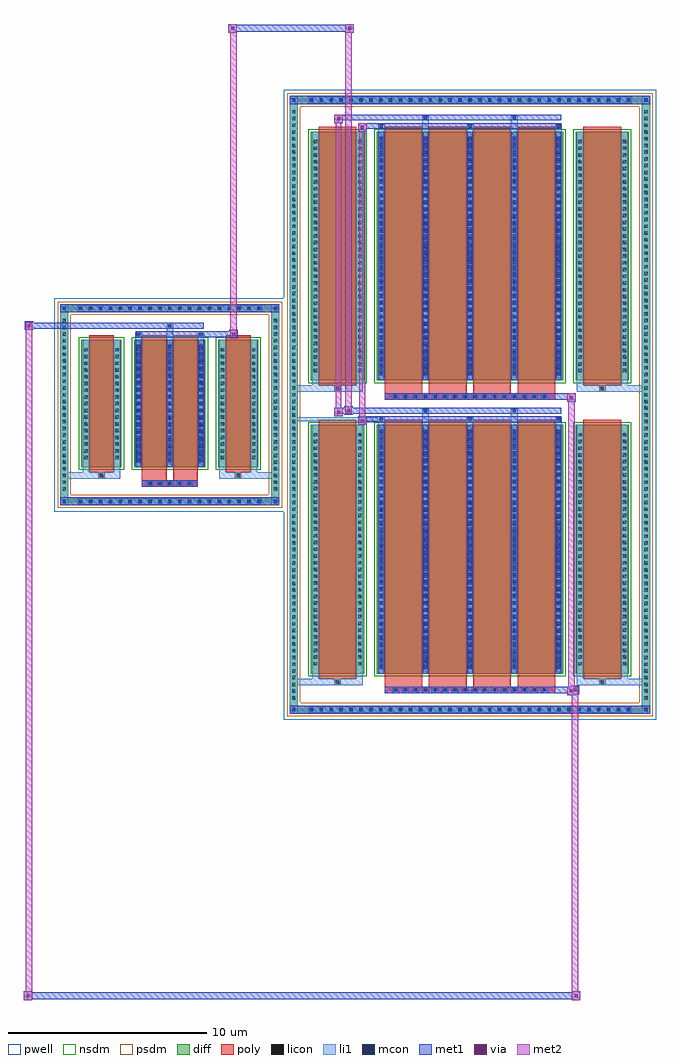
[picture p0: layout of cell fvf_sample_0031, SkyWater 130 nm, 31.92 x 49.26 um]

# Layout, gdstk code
import gdstk
lib = gdstk.Library(unit=1e-6, precision=1e-09)
def R(c, l, rs):  # rectangles x0, y0, x1, y1
    for r in rs: c.add(gdstk.rectangle(r[:2], r[2:], *l))
def A(c, l, x, y, w, h, nx, ny, dx, dy):  # array of equal rectangles
    R(c, l, [(x+i*dx, y+j*dy, x+i*dx+w, y+j*dy+h) for i in range(nx) for j in range(ny)])
def P(c, l, *ps):  # polygons
    for p in ps: c.add(gdstk.Polygon(p, *l))
pwell = (64, 44)
diff = (65, 20)
poly = (66, 20)
licon = (66, 44)
li1 = (67, 20)
mcon = (67, 44)
met1 = (68, 20)
via = (68, 44)
met2 = (69, 20)
nsdm = (93, 44)
psdm = (94, 20)

fvf_sample_0031 = lib.new_cell('fvf_sample_0031')
R(fvf_sample_0031, pwell, [(5.743,-15.897,24.549,15.897), (-5.843,-5.387,5.843,5.387)])
A(fvf_sample_0031, diff, 6.941, -15.587, 0.41, 0.41, 33, 2, 0.5, 30.764)
A(fvf_sample_0031, diff, 6.053, -14.995, 0.41, 0.41, 1, 88, 0, 0.34)
A(fvf_sample_0031, diff, 23.829, -14.995, 0.41, 0.41, 1, 88, 0, 0.34)
A(fvf_sample_0031, diff, -4.705, -5.077, 0.41, 0.41, 19, 2, 0.5, 9.744)
A(fvf_sample_0031, diff, -5.533, -4.455, 0.41, 0.41, 1, 26, 0, 0.34)
A(fvf_sample_0031, diff, 5.123, -4.455, 0.41, 0.41, 1, 26, 0, 0.34)
R(fvf_sample_0031, diff, [(6.941,-15.587,23.351,-15.177), (6.053,-14.995,6.463,14.995), (23.829,-14.995,24.239,14.995), (7.123,-13.566,9.809,-1.014), (10.449,-13.566,19.843,-1.014), (20.483,-13.566,23.169,-1.014), (-4.705,-5.077,4.705,-4.667), (-5.533,-4.455,-5.123,4.455), (5.123,-4.455,5.533,4.455), (-4.463,-3.156,-2.439,3.272), (-1.799,-3.156,1.799,3.272), (2.439,-3.156,4.463,3.272), (7.123,1.23,9.809,13.782), (10.449,1.23,19.843,13.782), (20.483,1.23,23.169,13.782), (-4.705,4.667,4.705,5.077), (6.941,15.177,23.351,15.587)])
P(fvf_sample_0031, diff, [(5.533,5.077),(-5.533,5.077),(-5.533,-4.667),(-5.123,-4.667),(-5.123,4.667),(5.123,4.667),(5.123,-4.667),(-5.123,-4.667),(-5.533,-4.667),(-5.533,-5.077),(5.533,-5.077)],
  [(24.239,15.587),(6.053,15.587),(6.053,-15.177),(6.463,-15.177),(6.463,15.177),(23.829,15.177),(23.829,-15.177),(6.463,-15.177),(6.053,-15.177),(6.053,-15.587),(24.239,-15.587)])
A(fvf_sample_0031, poly, 11.231, -14.546, 0.33, 0.33, 16, 2, 0.5, 14.796)
A(fvf_sample_0031, poly, 10.839, -14.216, 1.906, 0.4, 4, 2, 2.236, 14.796)
A(fvf_sample_0031, poly, 10.839, -13.816, 1.906, 13.052, 4, 2, 2.236, 14.796)
A(fvf_sample_0031, poly, -1.165, -4.136, 0.33, 0.33, 5, 1, 0.5, 0)
R(fvf_sample_0031, poly, [(10.839,-14.546,19.453,-14.216), (8.301,-14.146,8.631,-13.816), (8.301,-14.146,8.631,-13.816), (21.661,-14.146,21.991,-13.816), (21.661,-14.146,21.991,-13.816), (7.513,-13.816,9.419,-0.764), (20.873,-13.816,22.779,-0.764), (-1.409,-4.136,1.409,-3.806), (-1.409,-3.806,-0.165,-3.406), (0.165,-3.806,1.409,-3.406), (-3.616,-3.736,-3.286,-3.406), (-3.616,-3.736,-3.286,-3.406), (3.286,-3.736,3.616,-3.406), (3.286,-3.736,3.616,-3.406), (-4.073,-3.406,-2.829,3.522), (-1.409,-3.406,-0.165,3.522), (0.165,-3.406,1.409,3.522), (2.829,-3.406,4.073,3.522), (10.839,0.25,19.453,0.58), (8.301,0.65,8.631,0.98), (8.301,0.65,8.631,0.98), (21.661,0.65,21.991,0.98), (21.661,0.65,21.991,0.98), (7.513,0.98,9.419,14.032), (20.873,0.98,22.779,14.032)])
A(fvf_sample_0031, licon, 7.061, -15.467, 0.17, 0.17, 33, 2, 0.5, 30.764)
A(fvf_sample_0031, licon, 6.173, -14.875, 0.17, 0.17, 1, 88, 0, 0.34)
A(fvf_sample_0031, licon, 23.949, -14.875, 0.17, 0.17, 1, 88, 0, 0.34)
A(fvf_sample_0031, licon, 11.311, -14.466, 0.17, 0.17, 16, 2, 0.5, 14.796)
A(fvf_sample_0031, licon, 7.263, -13.155, 0.17, 0.17, 1, 35, 0, 0.34)
A(fvf_sample_0031, licon, 9.499, -13.155, 0.17, 0.17, 1, 35, 0, 0.34)
A(fvf_sample_0031, licon, 10.589, -13.155, 0.17, 0.17, 5, 35, 2.236, 0.34)
A(fvf_sample_0031, licon, 20.623, -13.155, 0.17, 0.17, 1, 35, 0, 0.34)
A(fvf_sample_0031, licon, 22.859, -13.155, 0.17, 0.17, 1, 35, 0, 0.34)
A(fvf_sample_0031, licon, -4.585, -4.957, 0.17, 0.17, 19, 2, 0.5, 9.744)
A(fvf_sample_0031, licon, -5.413, -4.335, 0.17, 0.17, 1, 26, 0, 0.34)
A(fvf_sample_0031, licon, 5.243, -4.335, 0.17, 0.17, 1, 26, 0, 0.34)
A(fvf_sample_0031, licon, -1.085, -4.056, 0.17, 0.17, 5, 1, 0.5, 0)
A(fvf_sample_0031, licon, -4.323, -2.747, 0.17, 0.17, 1, 17, 0, 0.34)
A(fvf_sample_0031, licon, -2.749, -2.747, 0.17, 0.17, 1, 17, 0, 0.34)
A(fvf_sample_0031, licon, -1.659, -2.747, 0.17, 0.17, 3, 17, 1.574, 0.34)
A(fvf_sample_0031, licon, 2.579, -2.747, 0.17, 0.17, 1, 17, 0, 0.34)
A(fvf_sample_0031, licon, 4.153, -2.747, 0.17, 0.17, 1, 17, 0, 0.34)
A(fvf_sample_0031, licon, 7.263, 1.641, 0.17, 0.17, 1, 35, 0, 0.34)
A(fvf_sample_0031, licon, 9.499, 1.641, 0.17, 0.17, 1, 35, 0, 0.34)
A(fvf_sample_0031, licon, 10.589, 1.641, 0.17, 0.17, 5, 35, 2.236, 0.34)
A(fvf_sample_0031, licon, 20.623, 1.641, 0.17, 0.17, 1, 35, 0, 0.34)
A(fvf_sample_0031, licon, 22.859, 1.641, 0.17, 0.17, 1, 35, 0, 0.34)
R(fvf_sample_0031, licon, [(8.381,-14.066,8.551,-13.896), (21.741,-14.066,21.911,-13.896), (-3.536,-3.656,-3.366,-3.486), (3.366,-3.656,3.536,-3.486), (8.381,0.73,8.551,0.9), (21.741,0.73,21.911,0.9)])
A(fvf_sample_0031, li1, 6.981, -15.547, 0.33, 0.33, 33, 2, 0.5, 30.764)
A(fvf_sample_0031, li1, 6.093, -14.955, 0.33, 0.33, 1, 88, 0, 0.34)
A(fvf_sample_0031, li1, 23.869, -14.955, 0.33, 0.33, 1, 88, 0, 0.34)
A(fvf_sample_0031, li1, 11.231, -14.546, 0.33, 0.33, 16, 2, 0.5, 14.796)
A(fvf_sample_0031, li1, 10.509, -13.566, 0.33, 12.552, 5, 2, 2.236, 14.796)
A(fvf_sample_0031, li1, 10.589, -13.315, 0.17, 0.17, 5, 34, 2.236, 0.36)
A(fvf_sample_0031, li1, 10.589, -13.315, 0.17, 12.05, 5, 2, 2.236, 14.796)
A(fvf_sample_0031, li1, 7.183, -13.235, 0.33, 0.33, 1, 35, 0, 0.34)
A(fvf_sample_0031, li1, 9.419, -13.235, 0.33, 0.33, 1, 35, 0, 0.34)
A(fvf_sample_0031, li1, 10.509, -13.235, 0.33, 0.33, 5, 35, 2.236, 0.34)
A(fvf_sample_0031, li1, 20.543, -13.235, 0.33, 0.33, 1, 35, 0, 0.34)
A(fvf_sample_0031, li1, 22.779, -13.235, 0.33, 0.33, 1, 35, 0, 0.34)
A(fvf_sample_0031, li1, -4.665, -5.037, 0.33, 0.33, 19, 2, 0.5, 9.744)
A(fvf_sample_0031, li1, -5.493, -4.415, 0.33, 0.33, 1, 26, 0, 0.34)
A(fvf_sample_0031, li1, 5.163, -4.415, 0.33, 0.33, 1, 26, 0, 0.34)
A(fvf_sample_0031, li1, -1.165, -4.136, 0.33, 0.33, 5, 1, 0.5, 0)
A(fvf_sample_0031, li1, -1.739, -3.156, 0.33, 6.428, 3, 1, 1.574, 0)
A(fvf_sample_0031, li1, -1.659, -2.907, 0.17, 0.17, 3, 17, 1.574, 0.36)
A(fvf_sample_0031, li1, -1.659, -2.907, 0.17, 5.93, 3, 1, 1.574, 0)
A(fvf_sample_0031, li1, -4.403, -2.827, 0.33, 0.33, 1, 17, 0, 0.34)
A(fvf_sample_0031, li1, -2.829, -2.827, 0.33, 0.33, 1, 17, 0, 0.34)
A(fvf_sample_0031, li1, -1.739, -2.827, 0.33, 0.33, 3, 17, 1.574, 0.34)
A(fvf_sample_0031, li1, 2.499, -2.827, 0.33, 0.33, 1, 17, 0, 0.34)
A(fvf_sample_0031, li1, 4.073, -2.827, 0.33, 0.33, 1, 17, 0, 0.34)
A(fvf_sample_0031, li1, 10.509, -1.014, 0.33, 0.375, 3, 2, 4.472, 14.796)
A(fvf_sample_0031, li1, 10.589, -0.809, 0.17, 0.17, 3, 2, 4.472, 14.796)
A(fvf_sample_0031, li1, 10.589, 1.481, 0.17, 0.17, 5, 34, 2.236, 0.36)
A(fvf_sample_0031, li1, 7.183, 1.561, 0.33, 0.33, 1, 35, 0, 0.34)
A(fvf_sample_0031, li1, 9.419, 1.561, 0.33, 0.33, 1, 35, 0, 0.34)
A(fvf_sample_0031, li1, 10.509, 1.561, 0.33, 0.33, 5, 35, 2.236, 0.34)
A(fvf_sample_0031, li1, 20.543, 1.561, 0.33, 0.33, 1, 35, 0, 0.34)
A(fvf_sample_0031, li1, 22.779, 1.561, 0.33, 0.33, 1, 35, 0, 0.34)
R(fvf_sample_0031, li1, [(6.053,-15.587,6.463,-15.177), (23.829,-15.587,24.239,-15.177), (6.981,-15.547,23.311,-15.217), (6.173,-15.467,6.343,-15.297), (6.173,-15.467,6.343,-15.297), (23.949,-15.467,24.119,-15.297), (23.949,-15.467,24.119,-15.297), (6.053,-15.177,6.463,15.177), (23.829,-15.177,24.239,15.177), (6.053,-14.146,8.301,-13.816), (7.183,-14.146,7.513,-13.566), (7.183,-14.146,8.301,-13.816), (8.301,-14.146,8.631,-13.816), (8.631,-14.146,9.749,-13.816), (9.419,-14.146,9.749,-13.566), (20.543,-14.146,20.873,-13.566), (20.543,-14.146,21.661,-13.816), (21.661,-14.146,21.991,-13.816), (21.661,-14.146,24.239,-13.816), (21.991,-14.146,23.109,-13.816), (22.779,-14.146,23.109,-13.566), (7.183,-13.566,7.513,-1.014), (9.419,-13.566,9.749,-1.014), (20.543,-13.566,20.873,-1.014), (22.779,-13.566,23.109,-1.014), (-5.533,-5.077,-5.123,-4.667), (5.123,-5.077,5.533,-4.667), (-4.665,-5.037,4.665,-4.707), (-5.413,-4.957,-5.243,-4.787), (-5.413,-4.957,-5.243,-4.787), (5.243,-4.957,5.413,-4.787), (5.243,-4.957,5.413,-4.787), (-5.533,-4.667,-5.123,4.667), (5.123,-4.667,5.533,4.667), (-5.533,-3.736,-3.616,-3.406), (-4.403,-3.736,-3.616,-3.406), (-4.403,-3.736,-4.073,-3.156), (-3.616,-3.736,-3.286,-3.406), (-3.286,-3.736,-2.499,-3.406), (-2.829,-3.736,-2.499,-3.156), (2.499,-3.736,3.286,-3.406), (2.499,-3.736,2.829,-3.156), (3.286,-3.736,3.616,-3.406), (3.286,-3.736,5.533,-3.406), (3.616,-3.736,4.403,-3.406), (4.073,-3.736,4.403,-3.156), (-4.403,-3.156,-4.073,3.272), (-2.829,-3.156,-2.499,3.272), (2.499,-3.156,2.829,3.272), (4.073,-3.156,4.403,3.272), (12.745,-1.014,13.075,-0.209), (17.217,-1.014,17.547,-0.209), (10.529,-0.869,10.819,-0.579), (6.053,-0.824,10.529,-0.624), (10.589,-0.809,10.759,-0.639), (12.825,-0.379,12.995,-0.209), (17.297,-0.379,17.467,-0.209), (6.053,0.65,8.301,0.98), (7.183,0.65,7.513,1.23), (7.183,0.65,8.301,0.98), (8.301,0.65,8.631,0.98), (8.631,0.65,9.749,0.98), (9.419,0.65,9.749,1.23), (20.543,0.65,20.873,1.23), (20.543,0.65,21.661,0.98), (21.661,0.65,21.991,0.98), (21.661,0.65,24.239,0.98), (21.991,0.65,23.109,0.98), (22.779,0.65,23.109,1.23), (7.183,1.23,7.513,13.782), (9.419,1.23,9.749,13.782), (20.543,1.23,20.873,13.782), (22.779,1.23,23.109,13.782), (-1.739,3.272,-1.409,3.647), (-0.165,3.272,0.165,4.077), (1.409,3.272,1.739,3.647), (-1.659,3.477,-1.489,3.647), (1.489,3.477,1.659,3.647), (-0.085,3.907,0.085,4.077), (-5.533,4.667,-5.123,5.077), (5.123,4.667,5.533,5.077), (-4.665,4.707,4.665,5.037), (-5.413,4.787,-5.243,4.957), (-5.413,4.787,-5.243,4.957), (5.243,4.787,5.413,4.957), (5.243,4.787,5.413,4.957), (12.745,13.782,13.075,14.587), (17.217,13.782,17.547,14.587), (12.825,14.417,12.995,14.587), (17.297,14.417,17.467,14.587), (6.053,15.177,6.463,15.587), (23.829,15.177,24.239,15.587), (6.981,15.217,23.311,15.547), (6.173,15.297,6.343,15.467), (6.173,15.297,6.343,15.467), (23.949,15.297,24.119,15.467), (23.949,15.297,24.119,15.467)])
A(fvf_sample_0031, mcon, 7.061, -15.467, 0.17, 0.17, 33, 2, 0.5, 30.764)
A(fvf_sample_0031, mcon, 11.311, -14.466, 0.17, 0.17, 16, 2, 0.5, 14.796)
A(fvf_sample_0031, mcon, 10.589, -13.315, 0.17, 0.17, 5, 34, 2.236, 0.36)
A(fvf_sample_0031, mcon, -4.585, -4.957, 0.17, 0.17, 19, 2, 0.5, 9.744)
A(fvf_sample_0031, mcon, -1.085, -4.056, 0.17, 0.17, 5, 1, 0.5, 0)
A(fvf_sample_0031, mcon, -1.659, -2.907, 0.17, 0.17, 3, 17, 1.574, 0.36)
A(fvf_sample_0031, mcon, 10.589, -0.809, 0.17, 0.17, 3, 2, 4.472, 14.796)
A(fvf_sample_0031, mcon, 10.589, 1.481, 0.17, 0.17, 5, 34, 2.236, 0.36)
R(fvf_sample_0031, mcon, [(6.173,-15.467,6.343,-15.297), (23.949,-15.467,24.119,-15.297), (-5.413,-4.957,-5.243,-4.787), (5.243,-4.957,5.413,-4.787), (10.589,-0.809,10.759,-0.639), (12.825,-0.379,12.995,-0.209), (17.297,-0.379,17.467,-0.209), (-1.659,3.477,-1.489,3.647), (1.489,3.477,1.659,3.647), (-0.085,3.907,0.085,4.077), (-5.413,4.787,-5.243,4.957), (5.243,4.787,5.413,4.957), (12.825,14.417,12.995,14.587), (17.297,14.417,17.467,14.587), (6.173,15.297,6.343,15.467), (23.949,15.297,24.119,15.467)])
A(fvf_sample_0031, met1, 7.001, -15.527, 0.29, 0.29, 33, 2, 0.5, 30.764)
A(fvf_sample_0031, met1, 11.251, -14.526, 0.29, 0.29, 16, 2, 0.5, 14.796)
A(fvf_sample_0031, met1, 10.529, -13.566, 0.29, 12.552, 5, 2, 2.236, 14.796)
A(fvf_sample_0031, met1, 10.529, -13.375, 0.29, 0.29, 5, 34, 2.236, 0.36)
A(fvf_sample_0031, met1, -4.645, -5.017, 0.29, 0.29, 19, 2, 0.5, 9.744)
A(fvf_sample_0031, met1, -1.145, -4.116, 0.29, 0.29, 5, 1, 0.5, 0)
A(fvf_sample_0031, met1, -1.719, -3.156, 0.29, 6.428, 3, 1, 1.574, 0)
A(fvf_sample_0031, met1, -1.719, -2.967, 0.29, 0.29, 3, 17, 1.574, 0.36)
A(fvf_sample_0031, met1, 10.529, -0.869, 0.29, 0.29, 3, 2, 4.472, 14.796)
A(fvf_sample_0031, met1, 10.529, 1.421, 0.29, 0.29, 5, 34, 2.236, 0.36)
R(fvf_sample_0031, met1, [(-7.371,-30.037,-6.941,-29.607), (20.288,-30.037,20.718,-29.607), (-7.371,-29.987,20.718,-29.657), (-7.371,-29.657,-6.941,-29.607), (20.288,-29.657,20.718,-29.607), (6.053,-15.587,6.463,-15.177), (6.053,-15.587,6.463,-15.177), (6.463,-15.587,23.829,-15.177), (23.829,-15.587,24.239,-15.177), (23.829,-15.587,24.239,-15.177), (6.113,-15.527,6.403,-15.237), (23.889,-15.527,24.179,-15.237), (20.053,-14.646,20.483,-14.216), (20.238,-14.596,20.668,-14.166), (10.839,-14.546,19.453,-14.216), (19.453,-14.546,20.238,-14.216), (19.453,-14.546,20.483,-14.216), (-5.533,-5.077,-5.123,-4.667), (-5.533,-5.077,-5.123,-4.667), (-5.123,-5.077,5.123,-4.667), (5.123,-5.077,5.533,-4.667), (5.123,-5.077,5.533,-4.667), (-5.473,-5.017,-5.183,-4.727), (5.183,-5.017,5.473,-4.727), (-1.409,-4.136,1.409,-3.806), (9.499,-1.009,9.929,-0.579), (9.499,-0.869,10.529,-0.579), (10.529,-0.869,10.819,-0.579), (10.529,-0.869,19.763,-0.579), (8.299,-0.579,8.729,-0.149), (8.814,-0.509,9.244,-0.079), (8.299,-0.439,10.529,-0.149), (9.244,-0.439,10.529,-0.149), (10.529,-0.439,19.763,-0.149), (12.765,-0.439,13.055,-0.149), (17.237,-0.439,17.527,-0.149), (20.053,0.15,20.483,0.58), (10.839,0.25,19.453,0.58), (19.453,0.25,20.483,0.58), (3.004,3.347,3.434,3.777), (-1.719,3.417,-1.429,3.707), (-1.719,3.417,1.719,3.707), (1.429,3.417,1.719,3.707), (1.719,3.417,3.004,3.707), (-7.321,3.777,-6.891,4.207), (-6.891,3.847,-1.719,4.137), (-1.719,3.847,1.719,4.137), (-0.145,3.847,0.145,4.137), (-5.533,4.667,-5.123,5.077), (-5.533,4.667,-5.123,5.077), (-5.123,4.667,5.123,5.077), (5.123,4.667,5.533,5.077), (5.123,4.667,5.533,5.077), (-5.473,4.727,-5.183,5.017), (5.183,4.727,5.473,5.017), (9.499,13.787,9.929,14.217), (9.499,13.927,10.529,14.217), (10.529,13.927,19.763,14.217), (8.299,14.217,8.729,14.647), (8.299,14.357,10.529,14.647), (10.529,14.357,19.763,14.647), (12.765,14.357,13.055,14.647), (17.237,14.357,17.527,14.647), (6.053,15.177,6.463,15.587), (6.053,15.177,6.463,15.587), (6.463,15.177,23.829,15.587), (23.829,15.177,24.239,15.587), (23.829,15.177,24.239,15.587), (6.113,15.237,6.403,15.527), (23.889,15.237,24.179,15.527), (2.954,18.788,3.384,19.218), (8.864,18.788,9.294,19.218), (2.954,18.838,9.294,19.168), (2.954,19.168,3.384,19.218), (8.864,19.168,9.294,19.218)])
R(fvf_sample_0031, via, [(-7.231,-29.897,-7.081,-29.747), (20.428,-29.897,20.578,-29.747), (20.193,-14.506,20.343,-14.356), (20.378,-14.456,20.528,-14.306), (9.639,-0.869,9.789,-0.719), (8.439,-0.439,8.589,-0.289), (8.954,-0.369,9.104,-0.219), (20.193,0.29,20.343,0.44), (3.144,3.487,3.294,3.637), (-7.181,3.917,-7.031,4.067), (9.639,13.927,9.789,14.077), (8.439,14.357,8.589,14.507), (3.094,18.928,3.244,19.078), (9.004,18.928,9.154,19.078)])
R(fvf_sample_0031, met2, [(-7.371,-30.037,-6.941,-29.607), (-7.271,-30.037,-6.941,3.827), (20.288,-30.037,20.718,-29.607), (20.288,-30.037,20.618,-14.546), (-7.321,-29.987,-6.991,-29.657), (20.338,-29.987,20.668,-29.657), (20.053,-14.646,20.483,-14.216), (20.103,-14.646,20.433,0.58), (20.433,-14.646,20.483,-14.216), (20.103,-14.596,20.433,-14.266), (20.288,-14.546,20.618,-14.216), (9.499,-1.009,9.929,-0.579), (9.569,-1.009,9.859,14.217), (9.859,-1.009,9.929,-0.579), (9.549,-0.959,9.879,-0.629), (8.299,-0.579,8.729,-0.149), (8.369,-0.579,8.659,14.647), (8.659,-0.579,8.729,-0.149), (8.349,-0.529,8.679,-0.199), (8.864,-0.459,9.194,-0.129), (8.864,-0.129,9.194,19.218), (20.053,0.15,20.483,0.58), (20.433,0.15,20.483,0.58), (20.103,0.2,20.433,0.53), (3.054,3.397,3.384,3.727), (3.054,3.727,3.384,19.218), (-7.271,3.827,-6.941,4.157), (9.499,13.787,9.929,14.217), (9.859,13.787,9.929,14.217), (9.549,13.837,9.879,14.167), (8.299,14.217,8.729,14.647), (8.659,14.217,8.729,14.647), (8.349,14.267,8.679,14.597), (2.954,18.788,3.384,19.218), (8.864,18.788,9.294,19.218), (3.004,18.838,3.334,19.168), (8.914,18.838,9.244,19.168)])
R(fvf_sample_0031, nsdm, [(6.993,-13.696,9.939,-0.884), (10.319,-13.696,19.973,-0.884), (20.353,-13.696,23.299,-0.884), (-4.593,-3.286,-2.309,3.402), (-1.929,-3.286,1.929,3.402), (2.309,-3.286,4.593,3.402), (6.993,1.1,9.939,13.912), (10.319,1.1,19.973,13.912), (20.353,1.1,23.299,13.912)])
P(fvf_sample_0031, psdm, [(5.663,5.207),(-5.663,5.207),(-5.663,-4.537),(-4.993,-4.537),(-4.993,4.537),(4.993,4.537),(4.993,-4.537),(-4.993,-4.537),(-5.663,-4.537),(-5.663,-5.207),(5.663,-5.207)],
  [(24.369,15.717),(5.923,15.717),(5.923,-15.047),(6.593,-15.047),(6.593,15.047),(23.699,15.047),(23.699,-15.047),(6.593,-15.047),(5.923,-15.047),(5.923,-15.717),(24.369,-15.717)])

lib.write_gds('fvf_sample_0031.gds')
